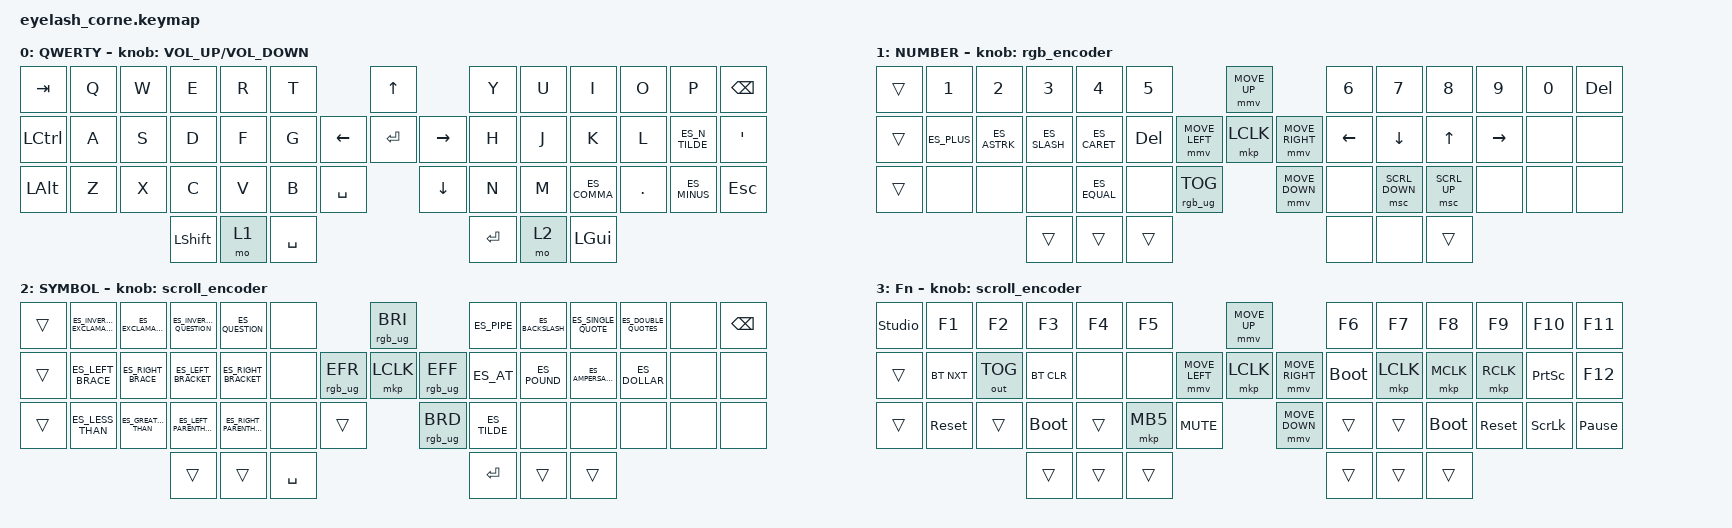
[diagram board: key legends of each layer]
#define ZMK_POINTING_DEFAULT_MOVE_VAL 1200  // 600
#define ZMK_POINTING_DEFAULT_SCRL_VAL 25   // 10

#include "keys_es.h"
#include <input/processors.dtsi>
#include <zephyr/dt-bindings/input/input-event-codes.h>
#include <behaviors.dtsi>
#include <dt-bindings/zmk/bt.h>
#include <dt-bindings/zmk/keys.h>
#include <dt-bindings/zmk/outputs.h>
#include <dt-bindings/zmk/pointing.h>
#include <dt-bindings/zmk/rgb.h>

&mmv_input_listener { input-processors = <&zip_xy_scaler 2 1>; };

&msc_input_listener { input-processors = <&zip_scroll_scaler 2 1>; };

&msc {
    acceleration-exponent = <1>;      // 0
    time-to-max-speed-ms = <100>;       // 300
    delay-ms = <0>;                   // 0
};

&mmv {
    time-to-max-speed-ms = <500>;
    acceleration-exponent = <1>;
    trigger-period-ms = <16>;
};

/ {
    behaviors {
        td0: td0 {
            compatible = "zmk,behavior-tap-dance";
            display-name = "Shift/Caps Lock Tap Dance";
            #binding-cells = <0>;
            bindings = <&kp LEFT_SHIFT>, <&kp CAPS>;
        };
    };

    rgb_encoder: rgb_encoder {
        compatible = "zmk,behavior-sensor-rotate";
        #sensor-binding-cells = <0>;
        bindings = <&rgb_ug RGB_BRI>, <&rgb_ug RGB_BRD>;
    };

    scroll_encoder: scroll_encoder {
        compatible = "zmk,behavior-sensor-rotate";
        #sensor-binding-cells = <0>;
        bindings = <&msc SCRL_DOWN>, <&msc SCRL_UP>;

        tap-ms = <100>;
    };

    combos {
        compatible = "zmk,combos";

        Layer4 {
            bindings = <&mo 3>;
            key-positions = <43 46>;
        };
    };

    keymap {
        compatible = "zmk,keymap";

        default_layer {
            display-name = "QWERTY";
            bindings = <
&kp TAB       &kp Q  &kp W  &kp E           &kp R  &kp T                             &kp UP                &kp Y      &kp U  &kp I         &kp O    &kp P           &kp BSPC
&kp LCTRL     &kp A  &kp S  &kp D           &kp F  &kp G                   &kp LEFT  &kp ENTER  &kp RIGHT  &kp H      &kp J  &kp K         &kp L    &kp ES_N_TILDE  &kp SQT
&kp LEFT_ALT  &kp Z  &kp X  &kp C           &kp V  &kp B      &kp SPACE              &kp DOWN              &kp N      &kp M  &kp ES_COMMA  &kp DOT  &kp ES_MINUS    &kp ESC
                            &kp LEFT_SHIFT  &mo 1  &kp SPACE                                               &kp ENTER  &mo 2  &kp LGUI
            >;

            sensor-bindings = <&inc_dec_kp C_VOLUME_UP C_VOLUME_DOWN>;
        };

        lower_layer {
            display-name = "NUMBER";
            bindings = <
&trans  &kp N1       &kp N2        &kp N3        &kp N4        &kp N5                                         &mmv MOVE_UP                     &kp N6    &kp N7          &kp N8        &kp N9     &kp N0  &kp DELETE
&trans  &kp ES_PLUS  &kp ES_ASTRK  &kp ES_SLASH  &kp ES_CARET  &kp DELETE                     &mmv MOVE_LEFT  &mkp LCLK       &mmv MOVE_RIGHT  &kp LEFT  &kp DOWN        &kp UP        &kp RIGHT  &none   &none
&trans  &none        &none         &none         &kp ES_EQUAL  &none       &rgb_ug RGB_TOG                    &mmv MOVE_DOWN                   &none     &msc SCRL_DOWN  &msc SCRL_UP  &none      &none   &none
                                   &trans        &trans        &trans                                                                          &none     &none           &trans
            >;

            sensor-bindings = <&rgb_encoder>;
        };

        raise_layer {
            display-name = "SYMBOL";
            bindings = <
&trans  &kp ES_INVERTED_EXCLAMATION  &kp ES_EXCLAMATION   &kp ES_INVERTED_QUESTION  &kp ES_QUESTION           &none                                 &rgb_ug RGB_BRI                   &kp ES_PIPE   &kp ES_BACKSLASH  &kp ES_SINGLE_QUOTE  &kp ES_DOUBLE_QUOTES  &none  &kp BSPC
&trans  &kp ES_LEFT_BRACE            &kp ES_RIGHT_BRACE   &kp ES_LEFT_BRACKET       &kp ES_RIGHT_BRACKET      &none                &rgb_ug RGB_EFR  &mkp LCLK        &rgb_ug RGB_EFF  &kp ES_AT     &kp ES_POUND      &kp ES_AMPERSAND     &kp ES_DOLLAR         &none  &none
&trans  &kp ES_LESS_THAN             &kp ES_GREATER_THAN  &kp ES_LEFT_PARENTHESIS   &kp ES_RIGHT_PARENTHESIS  &none      &trans                     &rgb_ug RGB_BRD                   &kp ES_TILDE  &none             &none                &none                 &none  &none
                                                          &trans                    &trans                    &kp SPACE                                                               &kp RET       &trans            &trans
            >;

            sensor-bindings = <&scroll_encoder>;
        };

        layer_3 {
            display-name = "Fn";
            bindings = <
&studio_unlock  &kp F1      &kp F2        &kp F3       &kp F4  &kp F5                                  &mmv MOVE_UP                     &kp F6       &kp F7     &kp F8       &kp F9      &kp F10          &kp F11
&trans          &bt BT_NXT  &out OUT_TOG  &bt BT_CLR   &none   &none                   &mmv MOVE_LEFT  &mkp LCLK       &mmv MOVE_RIGHT  &bootloader  &mkp LCLK  &mkp MCLK    &mkp RCLK   &kp PRINTSCREEN  &kp F12
&trans          &sys_reset  &trans        &bootloader  &trans  &mkp MB5  &kp C_MUTE                    &mmv MOVE_DOWN                   &trans       &trans     &bootloader  &sys_reset  &kp SCROLLLOCK   &kp PAUSE_BREAK
                                          &trans       &trans  &trans                                                                   &trans       &trans     &trans
            >;

            sensor-bindings = <&scroll_encoder>;
        };
    };
};
